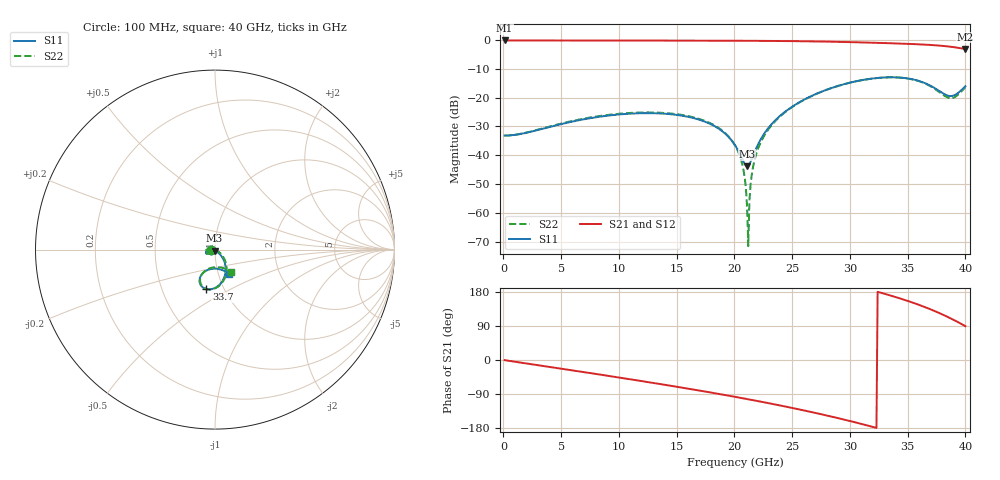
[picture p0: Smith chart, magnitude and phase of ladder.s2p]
! C_s8_offset: via ladder as kisi uses it (kisi_si::via_pbm, graded grid, junction model), ports at the via
# Hz S RI R 50
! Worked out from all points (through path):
!   400 points, 100 MHz to 40 GHz, reference 50 ohm
!   highest |S21| = -0.19 dB at 100 MHz (marker M1); lowest = -3.2 dB at 40 GHz (marker M2)
!   group delay of S21, straight-line fit = 17.1 ps
!   lowest |S11| = -43.8 dB at 21.1 GHz (marker M3), VSWR 1.01, Z = 49.8 - j0.596 ohm
!   |S11| at or under -10 dB: start of sweep to end of sweep
!   |S22| runs from -71.5 to -13.0 dB; largest |S21 - S12| = 0
!   S11 on the Smith chart (normalised r, x): 100 MHz: 0.96, -0.00; 33.7 GHz: 0.83, -0.38; 40 GHz: 1.12, -0.31
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1e8  -0.022 -0.000414  0.978 -0.00779  0.978 -0.00779  -0.022 -0.000419
6.8e9  -0.035 -0.0224  0.8355 -0.5057  0.8355 -0.5057  -0.0367 -0.0217
1.34e10  -0.0509 -0.0161  0.4478 -0.8643  0.4478 -0.8643  -0.0536 -0.0116
1.77e10  -0.0364 -0.0026  0.0934 -0.9656  0.0934 -0.9656  -0.0374 0.0039
1.91e10  -0.0247 -0.00118  -0.0332 -0.9679  -0.0332 -0.9679  -0.0247 0.00555
2.01e10  -0.0143 -0.00236  -0.1255 -0.9589  -0.1255 -0.9589  -0.0136 0.00438
2.08e10  -0.00612 -0.00461  -0.1905 -0.9468  -0.1905 -0.9468  -0.00494 0.00205
2.1e10  -0.00369 -0.00549  -0.2091 -0.9425  -0.2091 -0.9425  -0.00237 0.00112
2.11e10  -0.00245 -0.00598  -0.2184 -0.9402  -0.2184 -0.9402  -0.00106 0.000611
2.12e10  -0.00121 -0.0065  -0.2277 -0.9378  -0.2277 -0.9378  0.000257 7.13e-05
2.13e10  4.73e-05 -0.00705  -0.237 -0.9353  -0.237 -0.9353  0.00158 -0.0005
2.15e10  0.00257 -0.00824  -0.2555 -0.9299  -0.2555 -0.9299  0.00425 -0.00174
2.19e10  0.00772 -0.011  -0.2926 -0.918  -0.2926 -0.918  0.00968 -0.00462
2.26e10  0.0169 -0.0172  -0.3568 -0.893  -0.3568 -0.893  0.0193 -0.011
2.42e10  0.0371 -0.0381  -0.4992 -0.8156  -0.4992 -0.8156  0.0406 -0.0327
2.67e10  0.0583 -0.09  -0.6961 -0.6364  -0.6961 -0.6364  0.063 -0.0862
3.03e10  0.0355 -0.184  -0.8739 -0.263  -0.8739 -0.263  0.0411 -0.1828
3.34e10  -0.0407 -0.2212  -0.8661 0.1342  -0.8661 0.1342  -0.0356 -0.2218
3.37e10  -0.0488 -0.2197  -0.8549 0.1744  -0.8549 0.1744  -0.0438 -0.2204
3.63e10  -0.0855 -0.1638  -0.6547 0.5137  -0.6547 0.5137  -0.0826 -0.1628
3.87e10  -0.00266 -0.1062  -0.2637 0.7152  -0.2637 0.7152  0.0014 -0.0979
4e10  0.0784 -0.1363  0.00904 0.6937  0.00904 0.6937  0.0874 -0.1232
